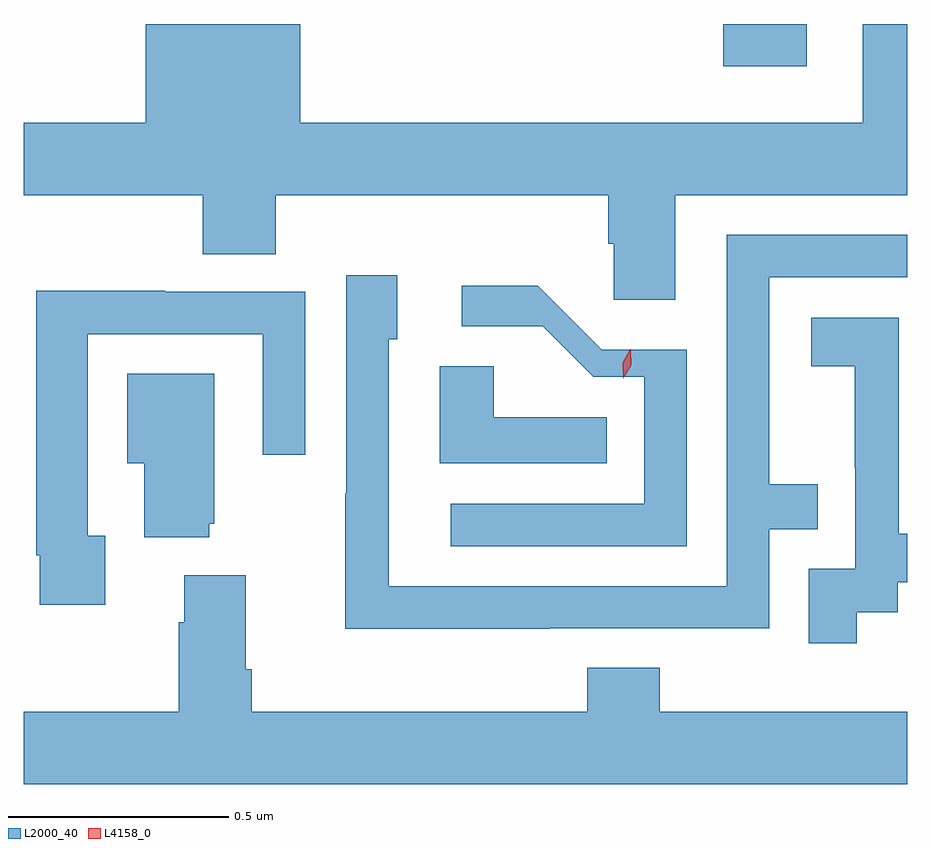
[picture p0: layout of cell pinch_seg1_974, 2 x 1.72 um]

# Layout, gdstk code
import gdstk
lib = gdstk.Library(unit=1e-6, precision=1e-09)
def R(c, l, rs):  # rectangles x0, y0, x1, y1
    for r in rs: c.add(gdstk.rectangle(r[:2], r[2:], *l))
def P(c, l, *ps):  # polygons
    for p in ps: c.add(gdstk.Polygon(p, *l))
L2000_40 = (2000, 40)
L4158_0 = (4158, 0)

pinch_seg1_974 = lib.new_cell('pinch_seg1_974')
R(pinch_seg1_974, L2000_40, [(126.709,521.388,126.898,521.484)])
P(pinch_seg1_974, L2000_40, [(126.601,521.096),(127.126,521.096),(127.126,521.484),(127.025,521.484),(127.025,521.26),(125.752,521.26),(125.752,521.484),(125.402,521.484),(125.402,521.26),(125.126,521.26),(125.126,521.096),(125.531,521.096),(125.531,520.963),(125.696,520.963),(125.696,521.096),(126.449,521.096),(126.449,520.987),(126.462,520.987),(126.462,520.86),(126.601,520.86)],
  [(126.317,520.116),(126.813,520.116),(126.813,520.341),(126.923,520.341),(126.923,520.442),(126.813,520.442),(126.813,520.911),(127.126,520.911),(127.126,521.007),(126.717,521.007),(126.717,520.212),(125.952,520.212),(125.952,520.77),(125.971,520.77),(125.971,520.915),(125.856,520.915),(125.856,520.421),(125.854,520.421),(125.854,520.115),(126.317,520.115)],
  [(126.627,520.747),(126.434,520.747),(126.29,520.892),(126.117,520.892),(126.117,520.8),(126.301,520.8),(126.415,520.686),(126.531,520.686),(126.531,520.398),(126.093,520.398),(126.093,520.302),(126.627,520.302)],
  [(125.311,520.326),(125.271,520.326),(125.271,520.782),(125.667,520.782),(125.667,520.509),(125.763,520.509),(125.763,520.878),(125.447,520.878),(125.447,520.88),(125.155,520.88),(125.155,520.282),(125.163,520.282),(125.163,520.17),(125.311,520.17)],
  [(127.012,520.153),(127.104,520.153),(127.104,520.221),(127.126,520.221),(127.126,520.33),(127.106,520.33),(127.106,520.613),(127.107,520.613),(127.107,520.819),(126.909,520.819),(126.909,520.709),(127.007,520.709),(127.007,520.481),(127.008,520.481),(127.008,520.251),(126.903,520.251),(126.903,520.083),(127.012,520.083)],
  [(126.446,520.594),(126.19,520.594),(126.19,520.709),(126.068,520.709),(126.068,520.49),(126.446,520.49)],
  [(125.546,520.353),(125.557,520.353),(125.557,520.693),(125.36,520.693),(125.36,520.49),(125.399,520.49),(125.399,520.322),(125.546,520.322)],
  [(127.126,519.928),(126.566,519.928),(126.566,520.027),(126.401,520.027),(126.401,519.928),(125.642,519.928),(125.642,520.024),(125.629,520.024),(125.629,520.237),(125.489,520.237),(125.489,520.13),(125.477,520.13),(125.477,519.928),(125.126,519.928),(125.126,519.764),(127.126,519.764)])
P(pinch_seg1_974, L4158_0, [(126.483,520.682),(126.483,520.682),(126.482,520.717),(126.499,520.748),(126.499,520.748),(126.5,520.748),(126.501,520.712),(126.483,520.682)])

lib.write_gds('pinch_seg1_974.gds')
